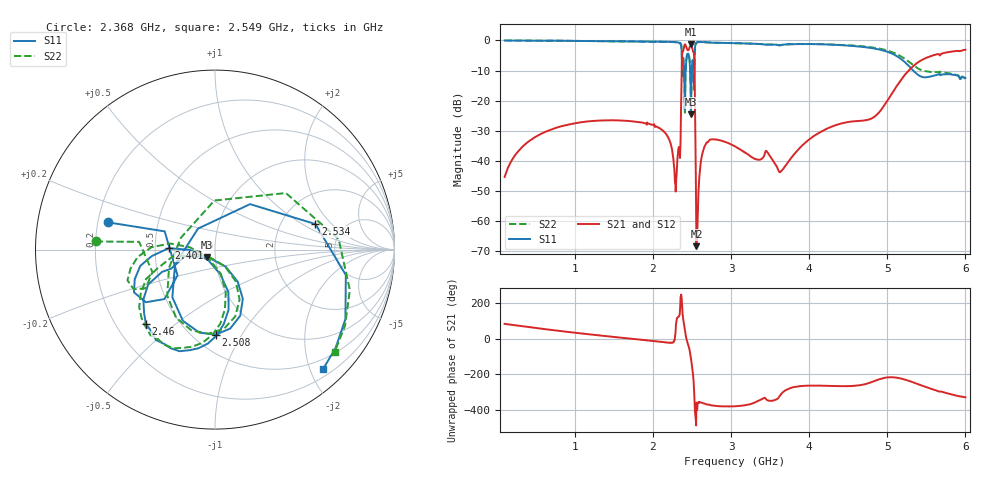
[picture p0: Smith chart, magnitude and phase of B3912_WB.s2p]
! Matrix data file written by TouchstoneData, EPCOS AG
! FILENAME: "LU60B1_1_WB.s2p_newformat"
! COMMENT: "(LU60B1_1_WB.s2p) EPCOS AG 11.03.2011 15:22:"
! INFO: nport=2, nfreq=1601
! DATE: "Mon Mar 14 16:58:44 2011"
! USER: "Sergey Rostovtsev"
! port | pin | signal
!  1  |  2  |  in
!  2  |  5  |  out
# MHZ S MA R 50
! freq  magS11 angS11  magS21 angS21  magS12 angS12  magS22 angS22
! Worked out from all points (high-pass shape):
!   1601 points, 100 MHz to 6 GHz, reference 50 ohm
!   highest |S21| = -1.28 dB at 2.486 GHz (marker M1); lowest = -68.4 dB at 2.556 GHz (marker M2)
!   |S21| within 3 dB of the highest: 2.375 GHz to 2.523 GHz (148.3 MHz wide, 6.06 % of centre); 5.707 GHz to end of sweep
!   lowest |S11| = -24.6 dB at 2.486 GHz (marker M3), VSWR 1.13, Z = 45.7 - j3.71 ohm
!   |S11| at or under -10 dB: 2.399 GHz to 2.418 GHz (19.85 MHz wide, 0.824 % of centre); 2.475 GHz to 2.497 GHz (21.91 MHz wide, 0.881 % of centre); 5.331 GHz to end of sweep (the widest 3 of 5)
!   |S22| runs from -25.0 to 0.0 dB; largest |S21 - S12| = 0.0027
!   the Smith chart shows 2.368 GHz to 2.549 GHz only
!   S11 on the Smith chart (normalised r, x): 2.368 GHz: 0.24, +0.12; 2.401 GHz: 0.59, +0.01; 2.46 GHz: 0.33, -0.40; 2.508 GHz: 0.64, -0.78; 2.534 GHz: 3.11, +1.33; 2.549 GHz: 0.33, -2.22
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100  0.9992 -6.0  0.005362 83.9  0.005364 83.7  0.9993 -5.7
1084.562  0.9807 -60.5  0.0436 30.0  0.04348 30.0  0.9797 -58.4
2069.125  0.9563 -107.0  0.03569 -15.4  0.03565 -15.5  0.9523 -107.4
2290.375  0.9401 -128.9  0.00307 47.5  0.003083 47.6  0.9374 -129.2
2323.562  0.9282 -138.5  0.01503 124.0  0.01504 123.9  0.9273 -138.3
2367.812  0.6166 165.7  0.3343 -137.8  0.3344 -137.8  0.6652 176.1
2401  0.2577 178.2  0.8151 70.3  0.8159 70.4  0.2521 172.3
2430.5  0.5246 -94.3  0.7482 -4.0  0.7483 -3.9  0.524 -97.7
2460  0.566 -132.8  0.7106 -47.5  0.7112 -47.5  0.5601 -136.9
2485.812  0.05919 -136.9  0.863 -107.8  0.8639 -107.8  0.05594 -143.5
2507.938  0.4735 -89.5  0.688 178.0  0.6877 178.0  0.4703 -94.6
2533.75  0.5772 14.3  0.2313 -13.8  0.2313 -13.8  0.5053 38.6
2548.5  0.8971 -47.8  0.005528 -95.2  0.005508 -95.4  0.8777 -40.6
2555.875  0.921 -59.7  0.0003785 1.3  0.0003875 2.8  0.9126 -54.8
2578  0.9426 -77.3  0.002183 2.8  0.002181 3.4  0.9383 -75.4
2688.625  0.9267 -103.0  0.02019 -8.2  0.02019 -8.2  0.932 -103.7
3050  0.9029 -121.8  0.01731 -18.9  0.01729 -18.9  0.901 -123.6
3632.625  0.8369 -139.1  0.006538 45.3  0.006546 45.4  0.8344 -140.5
4034.562  0.8706 -153.9  0.02437 97.3  0.02441 97.4  0.8746 -153.8
5019.125  0.6362 148.0  0.1085 143.8  0.1086 144.0  0.6691 154.3
5557.5  0.2528 153.5  0.5502 79.8  0.5506 80.0  0.2996 147.1
6000  0.2381 138.8  0.7025 31.2  0.7034 31.2  0.2338 129.4
